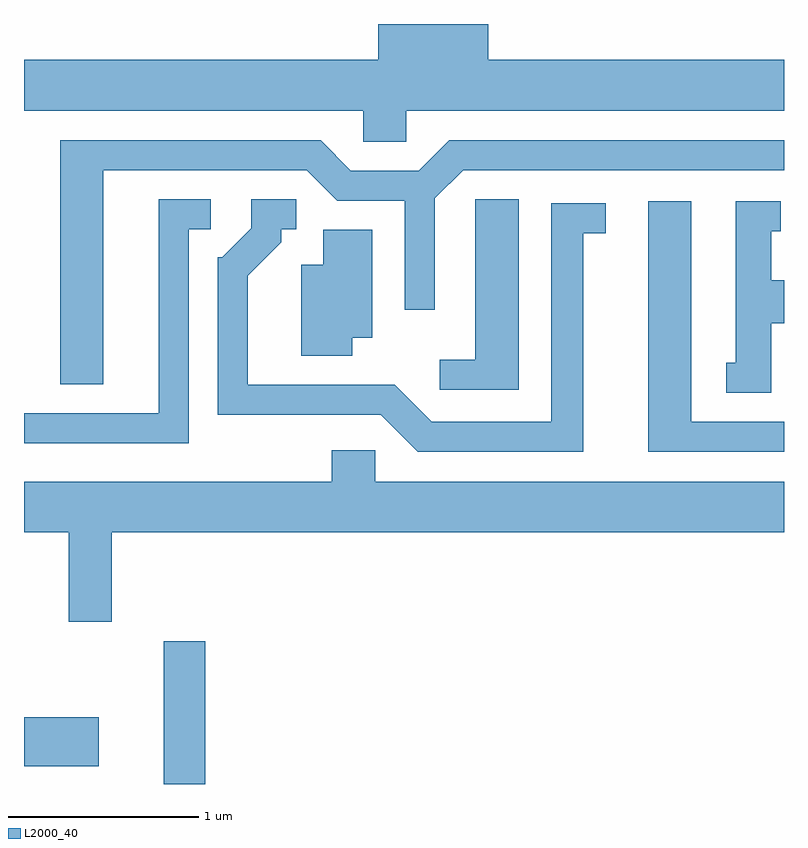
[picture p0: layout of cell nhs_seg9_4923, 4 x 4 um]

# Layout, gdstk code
import gdstk
lib = gdstk.Library(unit=1e-6, precision=1e-09)
def R(c, l, rs):  # rectangles x0, y0, x1, y1
    for r in rs: c.add(gdstk.rectangle(r[:2], r[2:], *l))
def P(c, l, *ps):  # polygons
    for p in ps: c.add(gdstk.Polygon(p, *l))
L2000_40 = (2000, 40)

nhs_seg9_4923 = lib.new_cell('nhs_seg9_4923')
R(nhs_seg9_4923, L2000_40, [(330.346,2050.432,330.564,2051.184), (329.611,2050.526,330.004,2050.784)])
P(nhs_seg9_4923, L2000_40, [(331.624,2053.976),(333.611,2053.976),(333.611,2054.244),(332.054,2054.244),(332.054,2054.432),(331.476,2054.432),(331.476,2054.244),(329.611,2054.244),(329.611,2053.976),(331.396,2053.976),(331.396,2053.811),(331.624,2053.811)],
  [(330.029,2053.661),(331.099,2053.661),(331.259,2053.501),(331.616,2053.501),(331.616,2052.928),(331.774,2052.928),(331.774,2053.514),(331.922,2053.661),(333.611,2053.661),(333.611,2053.819),(331.849,2053.819),(331.689,2053.659),(331.332,2053.659),(331.172,2053.819),(329.801,2053.819),(329.801,2052.536),(330.029,2052.536)],
  [(332.214,2053.509),(331.986,2053.509),(331.986,2052.664),(331.798,2052.664),(331.798,2052.506),(332.214,2052.506)],
  [(330.479,2053.351),(330.593,2053.351),(330.593,2053.509),(330.321,2053.509),(330.321,2052.384),(329.611,2052.384),(329.611,2052.226),(330.479,2052.226)],
  [(332.554,2053.331),(332.673,2053.331),(332.673,2053.489),(332.386,2053.489),(332.386,2052.339),(331.757,2052.339),(331.562,2052.534),(330.789,2052.534),(330.789,2053.108),(330.964,2053.284),(330.964,2053.351),(331.043,2053.351),(331.043,2053.509),(330.806,2053.509),(330.806,2053.356),(330.654,2053.204),(330.631,2053.204),(330.631,2052.376),(331.489,2052.376),(331.684,2052.181),(332.554,2052.181)],
  [(333.611,2052.339),(333.124,2052.339),(333.124,2053.499),(332.896,2053.499),(332.896,2052.181),(333.611,2052.181)],
  [(333.544,2052.856),(333.611,2052.856),(333.611,2053.084),(333.544,2053.084),(333.544,2053.341),(333.593,2053.341),(333.593,2053.499),(333.356,2053.499),(333.356,2052.649),(333.308,2052.649),(333.308,2052.491),(333.544,2052.491)],
  [(331.339,2052.781),(331.444,2052.781),(331.444,2053.349),(331.186,2053.349),(331.186,2053.164),(331.071,2053.164),(331.071,2052.686),(331.339,2052.686)],
  [(330.074,2051.756),(333.611,2051.756),(333.611,2052.024),(331.459,2052.024),(331.459,2052.189),(331.231,2052.189),(331.231,2052.024),(329.611,2052.024),(329.611,2051.756),(329.846,2051.756),(329.846,2051.286),(330.074,2051.286)])

lib.write_gds('nhs_seg9_4923.gds')
